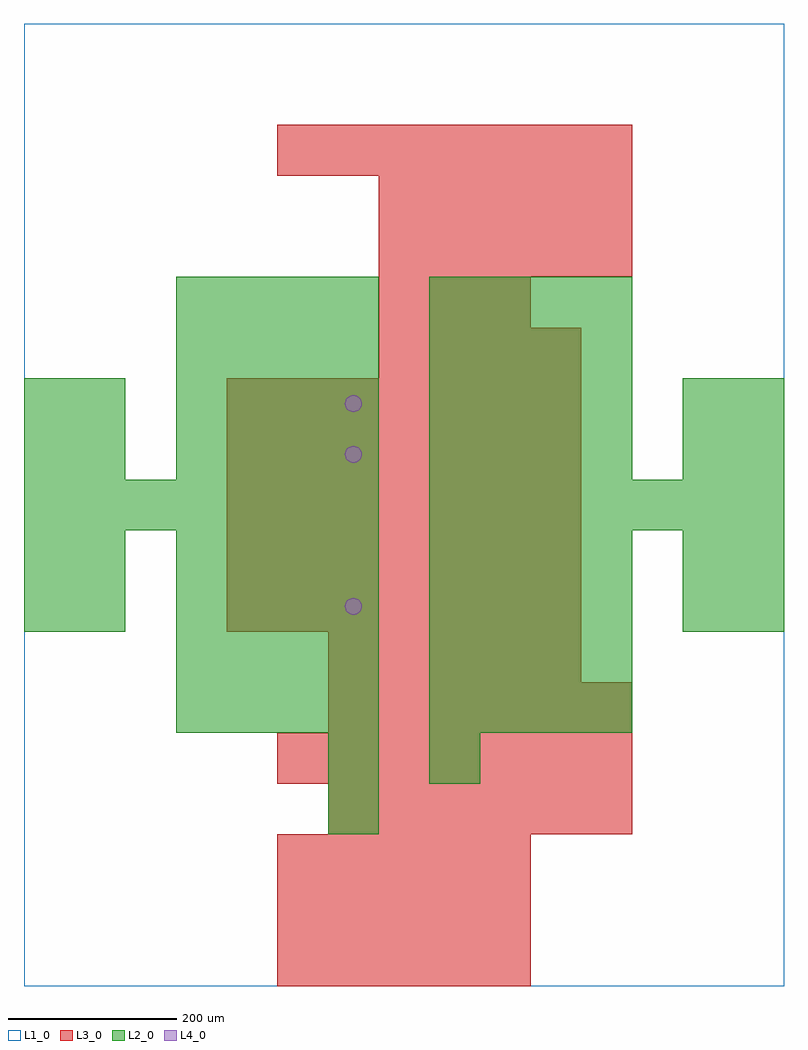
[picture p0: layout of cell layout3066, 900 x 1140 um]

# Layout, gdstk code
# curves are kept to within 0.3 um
import gdstk
lib = gdstk.Library(unit=1e-6, precision=1e-09)
def R(c, l, rs):  # rectangles x0, y0, x1, y1
    for r in rs: c.add(gdstk.rectangle(r[:2], r[2:], *l))
def A(c, l, x, y, w, h, nx, ny, dx, dy):  # array of equal rectangles
    R(c, l, [(x+i*dx, y+j*dy, x+i*dx+w, y+j*dy+h) for i in range(nx) for j in range(ny)])
def P(c, l, *ps):  # polygons
    for p in ps: c.add(gdstk.Polygon(p, *l))
L1_0 = (1, 0)
L2_0 = (2, 0)
L3_0 = (3, 0)
L4_0 = (4, 0)

layout3066 = lib.new_cell('layout3066')
R(layout3066, L1_0, [(0,0,900,1140)])
A(layout3066, L2_0, 180, 300, 60, 60, 4, 4, 60, 60)
A(layout3066, L2_0, 480, 300, 60, 60, 4, 4, 60, 60)
A(layout3066, L2_0, 0, 540, 60, 60, 7, 1, 60, 0)
A(layout3066, L2_0, 480, 540, 60, 60, 7, 1, 60, 0)
A(layout3066, L2_0, 180, 600, 60, 60, 4, 4, 60, 60)
A(layout3066, L2_0, 480, 600, 60, 60, 4, 4, 60, 60)
R(layout3066, L2_0, [(360,180,420,240), (360,240,420,300), (480,240,540,300), (0,420,60,480), (60,420,120,480), (780,420,840,480), (840,420,900,480), (0,480,60,540), (60,480,120,540), (780,480,840,540), (840,480,900,540), (0,600,60,660), (60,600,120,660), (780,600,840,660), (840,600,900,660), (0,660,60,720), (60,660,120,720), (780,660,840,720), (840,660,900,720)])
A(layout3066, L3_0, 300, 0, 60, 60, 5, 3, 60, 60)
A(layout3066, L3_0, 360, 180, 60, 60, 6, 2, 60, 120)
A(layout3066, L3_0, 300, 240, 60, 60, 7, 2, 60, 720)
A(layout3066, L3_0, 360, 360, 60, 60, 5, 1, 60, 0)
A(layout3066, L3_0, 240, 420, 60, 60, 7, 5, 60, 60)
A(layout3066, L3_0, 420, 720, 60, 60, 4, 1, 60, 0)
A(layout3066, L3_0, 420, 780, 60, 60, 3, 1, 60, 0)
A(layout3066, L3_0, 420, 840, 60, 60, 5, 2, 60, 60)
P(layout3066, L4_0, [(400,450),(399.239,453.827),(397.071,457.071),(393.827,459.239),(390,460),(386.173,459.239),(382.929,457.071),(380.761,453.827),(380,450),(380.761,446.173),(382.929,442.929),(386.173,440.761),(390,440),(393.827,440.761),(397.071,442.929),(399.239,446.173)],
  [(400,630),(399.239,633.827),(397.071,637.071),(393.827,639.239),(390,640),(386.173,639.239),(382.929,637.071),(380.761,633.827),(380,630),(380.761,626.173),(382.929,622.929),(386.173,620.761),(390,620),(393.827,620.761),(397.071,622.929),(399.239,626.173)],
  [(400,690),(399.239,693.827),(397.071,697.071),(393.827,699.239),(390,700),(386.173,699.239),(382.929,697.071),(380.761,693.827),(380,690),(380.761,686.173),(382.929,682.929),(386.173,680.761),(390,680),(393.827,680.761),(397.071,682.929),(399.239,686.173)])

lib.write_gds('layout3066.gds')
